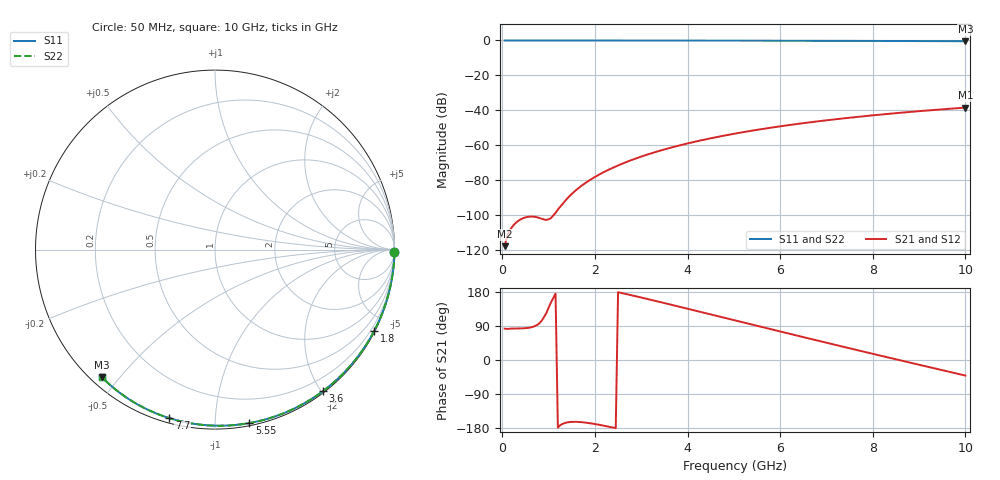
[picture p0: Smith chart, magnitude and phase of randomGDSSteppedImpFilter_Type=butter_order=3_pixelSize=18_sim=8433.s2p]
! freq	dB(S11)	phase(S11)	dB(S12)	phase(S12)
!  dB(S21)	phase(S21)	dB(S22)	phase(S22)
!S-par simulation data
#  GHz  S  DB  R 50
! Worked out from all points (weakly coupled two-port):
!   200 points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, 50 MHz to 10 GHz, reference 50 ohm
!   highest |S21| = -38.37 dB at 10 GHz (marker M1); lowest = -117.5 dB at 50 MHz (marker M2)
!   lowest |S11| = -0.4 dB at 10 GHz (marker M3), VSWR 39.04, Z = 1.54 - j22.4 ohm
!   |S11| at or under -10 dB: nowhere
!   |S22| runs from -0.4 to 0.0 dB; largest |S21 - S12| = 0
!   S11 on the Smith chart (normalised r, x): 50 MHz: open; 1.8 GHz: 0.04, -4.17; 3.6 GHz: 0.02, -2.02; 5.55 GHz: 0.02, -1.22; 7.7 GHz: 0.02, -0.76; 10 GHz: 0.03, -0.45
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0.05  -0.00 -0.8  -117.54 82.7  -117.54 82.7  -0.00 -0.8
0.9  -0.02 -13.6  -102.27 113.0  -102.27 113.0  -0.02 -13.6
1.75  -0.03 -26.2  -82.27 -164.5  -82.27 -164.5  -0.03 -26.2
1.8  -0.03 -27.0  -81.34 -165.2  -81.34 -165.2  -0.03 -27.0
1.85  -0.04 -27.7  -80.46 -166.1  -80.46 -166.1  -0.04 -27.7
1.9  -0.04 -28.4  -79.61 -166.9  -79.61 -166.9  -0.04 -28.4
2.05  -0.04 -30.6  -77.24 -170.0  -77.24 -170.0  -0.04 -30.6
2.25  -0.04 -33.6  -74.45 -174.7  -74.45 -174.7  -0.04 -33.6
2.45  -0.05 -36.5  -71.98 -179.8  -71.98 -179.8  -0.05 -36.5
2.65  -0.05 -39.3  -69.76 174.7  -69.76 174.7  -0.05 -39.3
3  -0.06 -44.3  -66.36 164.9  -66.36 164.9  -0.06 -44.3
3.4  -0.07 -50.0  -63.03 153.2  -63.03 153.2  -0.07 -50.0
3.6  -0.07 -52.8  -61.54 147.3  -61.54 147.3  -0.07 -52.7
4.3  -0.09 -62.3  -57.03 126.3  -57.03 126.3  -0.09 -62.3
5.05  -0.11 -72.3  -53.10 103.7  -53.10 103.7  -0.11 -72.3
5.55  -0.13 -78.8  -50.87 88.7  -50.87 88.7  -0.13 -78.8
6.1  -0.15 -85.8  -48.69 72.3  -48.69 72.3  -0.15 -85.8
6.7  -0.18 -93.2  -46.58 54.4  -46.58 54.4  -0.18 -93.2
7.7  -0.24 -105.2  -43.58 25.0  -43.58 25.0  -0.24 -105.2
8.35  -0.29 -112.8  -41.90 6.2  -41.90 6.2  -0.29 -112.8
9.15  -0.36 -122.0  -40.07 -16.8  -40.07 -16.8  -0.36 -122.0
10  -0.45 -131.6  -38.37 -41.1  -38.37 -41.1  -0.45 -131.6
